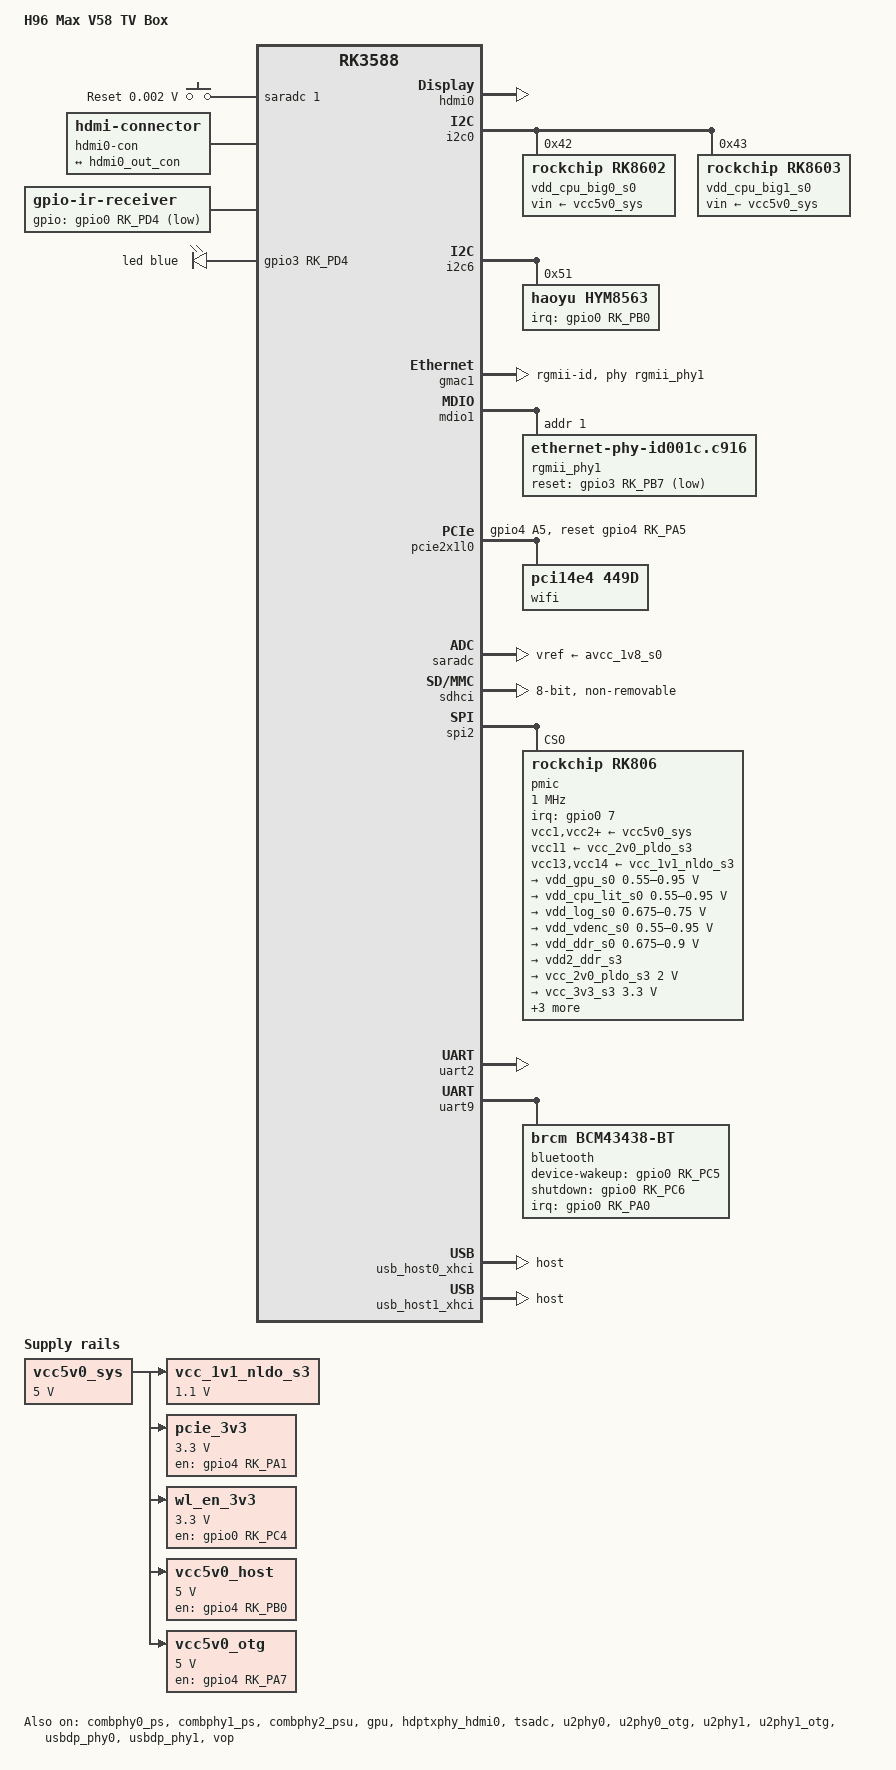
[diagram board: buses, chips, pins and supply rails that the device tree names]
// SPDX-License-Identifier: (GPL-2.0+ OR MIT)

/dts-v1/;

#include <dt-bindings/gpio/gpio.h>
#include <dt-bindings/input/input.h>
#include <dt-bindings/leds/common.h>
#include <dt-bindings/soc/rockchip,vop2.h>
#include "rk3588.dtsi"

/ {
	model = "H96 Max V58 TV Box";
	compatible = "haochuangyi,h96-max-v58", "rockchip,rk3588";

	aliases {
		ethernet0 = &gmac1;
		mmc0 = &sdhci;
	};

	adc-keys {
		compatible = "adc-keys";
		io-channels = <&saradc 1>;
		io-channel-names = "buttons";
		keyup-threshold-microvolt = <1800000>;
		poll-interval = <100>;

		button-function {
			label = "Reset";
			linux,code = <KEY_VENDOR>;
			press-threshold-microvolt = <1750>;
		};
	};

	chosen {
		stdout-path = "serial2:1500000n8";
	};

	hdmi0-con {
		compatible = "hdmi-connector";
		type = "a";

		port {
			hdmi0_con_in: endpoint {
				remote-endpoint = <&hdmi0_out_con>;
			};
		};
	};

	ir-receiver {
		compatible = "gpio-ir-receiver";
		gpios = <&gpio0 RK_PD4 GPIO_ACTIVE_LOW>;
		pinctrl-names = "default";
		pinctrl-0 = <&ir_receiver_pin>;
	};

	leds {
		compatible = "gpio-leds";
		pinctrl-names = "default";
		pinctrl-0 = <&led_pins>;

		led {
			color = <LED_COLOR_ID_BLUE>;
			function = LED_FUNCTION_STATUS;
			gpios = <&gpio3 RK_PD4 GPIO_ACTIVE_HIGH>;
			linux,default-trigger = "heartbeat";
		};
	};

	vcc_1v1_nldo_s3: regulator-1v1 {
		compatible = "regulator-fixed";
		regulator-name = "vcc_1v1_nldo_s3";
		regulator-always-on;
		regulator-boot-on;
		regulator-min-microvolt = <1100000>;
		regulator-max-microvolt = <1100000>;
		vin-supply = <&vcc5v0_sys>;
	};

	pcie_3v3: regulator-3v3-pcie {
		compatible = "regulator-fixed";
		enable-active-high;
		gpios = <&gpio4 RK_PA1 GPIO_ACTIVE_HIGH>;
		pinctrl-0 = <&pcie2_0_pow>;
		pinctrl-names = "default";
		regulator-name = "pcie_3v3";
		regulator-min-microvolt = <3300000>;
		regulator-max-microvolt = <3300000>;
		vin-supply = <&vcc5v0_sys>;
	};

	wl_en_3v3: regulator-3v3-wlen {
		compatible = "regulator-fixed";
		enable-active-high;
		gpios = <&gpio0 RK_PC4 GPIO_ACTIVE_HIGH>;
		pinctrl-0 = <&wl_en>;
		pinctrl-names = "default";
		/*
		 * Needs to be brought up before the PCIe driver is probed,
		 * otherwise detecting the WLAN module requires rescanning
		 * the bus, and even then it fails half of the time during
		 * firmware load
		 */
		regulator-always-on;
		regulator-boot-on;
		regulator-name = "wl_en_3v3";
		regulator-min-microvolt = <3300000>;
		regulator-max-microvolt = <3300000>;
		vin-supply = <&vcc5v0_sys>;
	};

	vcc5v0_host: regulator-5v0-host {
		compatible = "regulator-fixed";
		regulator-name = "vcc5v0_host";
		regulator-min-microvolt = <5000000>;
		regulator-max-microvolt = <5000000>;
		enable-active-high;
		gpios = <&gpio4 RK_PB0 GPIO_ACTIVE_HIGH>;
		pinctrl-0 = <&vcc5v0_host_en>;
		pinctrl-names = "default";
		vin-supply = <&vcc5v0_sys>;
	};

	vcc5v0_otg: regulator-5v0-otg {
		compatible = "regulator-fixed";
		regulator-name = "vcc5v0_otg";
		regulator-min-microvolt = <5000000>;
		regulator-max-microvolt = <5000000>;
		enable-active-high;
		gpios = <&gpio4 RK_PA7 GPIO_ACTIVE_HIGH>;
		pinctrl-0 = <&vcc5v0_otg_en>;
		pinctrl-names = "default";
		vin-supply = <&vcc5v0_sys>;
	};

	vcc5v0_sys: regulator-5v0-sys {
		compatible = "regulator-fixed";
		regulator-name = "vcc5v0_sys";
		regulator-always-on;
		regulator-boot-on;
		regulator-min-microvolt = <5000000>;
		regulator-max-microvolt = <5000000>;
	};
};

&combphy0_ps {
	status = "okay";
};

&combphy1_ps {
	status = "okay";
};

&combphy2_psu {
	status = "okay";
};

&cpu_b0 {
	cpu-supply = <&vdd_cpu_big0_s0>;
};

&cpu_b1 {
	cpu-supply = <&vdd_cpu_big0_s0>;
};

&cpu_b2 {
	cpu-supply = <&vdd_cpu_big1_s0>;
};

&cpu_b3 {
	cpu-supply = <&vdd_cpu_big1_s0>;
};

&cpu_l0 {
	cpu-supply = <&vdd_cpu_lit_s0>;
};

&cpu_l1 {
	cpu-supply = <&vdd_cpu_lit_s0>;
};

&cpu_l2 {
	cpu-supply = <&vdd_cpu_lit_s0>;
};

&cpu_l3 {
	cpu-supply = <&vdd_cpu_lit_s0>;
};

&gpu {
	mali-supply = <&vdd_gpu_s0>;
	status = "okay";
};

&hdmi0 {
	status = "okay";
};

&hdmi0_in {
	hdmi0_in_vp0: endpoint {
		remote-endpoint = <&vp0_out_hdmi0>;
	};
};

&hdmi0_out {
	hdmi0_out_con: endpoint {
		remote-endpoint = <&hdmi0_con_in>;
	};
};

&hdptxphy_hdmi0 {
	status = "okay";
};

&i2c0 {
	pinctrl-names = "default";
	pinctrl-0 = <&i2c0m2_xfer>;
	status = "okay";

	vdd_cpu_big0_s0: regulator@42 {
		compatible = "rockchip,rk8602";
		reg = <0x42>;
		fcs,suspend-voltage-selector = <1>;
		regulator-name = "vdd_cpu_big0_s0";
		regulator-always-on;
		regulator-boot-on;
		regulator-min-microvolt = <550000>;
		regulator-max-microvolt = <1050000>;
		regulator-ramp-delay = <2300>;
		vin-supply = <&vcc5v0_sys>;

		regulator-state-mem {
			regulator-off-in-suspend;
		};
	};

	vdd_cpu_big1_s0: regulator@43 {
		compatible = "rockchip,rk8603", "rockchip,rk8602";
		reg = <0x43>;
		fcs,suspend-voltage-selector = <1>;
		regulator-name = "vdd_cpu_big1_s0";
		regulator-always-on;
		regulator-boot-on;
		regulator-min-microvolt = <550000>;
		regulator-max-microvolt = <1050000>;
		regulator-ramp-delay = <2300>;
		vin-supply = <&vcc5v0_sys>;

		regulator-state-mem {
			regulator-off-in-suspend;
		};
	};
};

&i2c6 {
	status = "okay";

	hym8563: rtc@51 {
		compatible = "haoyu,hym8563";
		reg = <0x51>;
		#clock-cells = <0>;
		clock-output-names = "hym8563";
		pinctrl-names = "default";
		pinctrl-0 = <&hym8563_int>;
		interrupt-parent = <&gpio0>;
		interrupts = <RK_PB0 IRQ_TYPE_LEVEL_LOW>;
		wakeup-source;
	};
};

&gmac1 {
	clock_in_out = "output";
	phy-handle = <&rgmii_phy1>;
	phy-mode = "rgmii-id";
	pinctrl-0 = <&gmac1_miim
		     &gmac1_tx_bus2
		     &gmac1_rx_bus2
		     &gmac1_rgmii_clk
		     &gmac1_rgmii_bus>;
	pinctrl-names = "default";
	status = "okay";
};

&mdio1 {
	rgmii_phy1: ethernet-phy@1 {
		/* RTL8211F */
		compatible = "ethernet-phy-id001c.c916";
		reg = <0x1>;
		pinctrl-names = "default";
		pinctrl-0 = <&rtl8211f_rst>;
		reset-assert-us = <20000>;
		reset-deassert-us = <100000>;
		reset-gpios = <&gpio3 RK_PB7 GPIO_ACTIVE_LOW>;
	};
};

&pcie2x1l0 {
	pinctrl-names = "default";
	pinctrl-0 = <&pcie2_0_rst>;
	reset-gpios = <&gpio4 RK_PA5 GPIO_ACTIVE_HIGH>;
	status = "okay";

	pcie@0,0 {
		reg = <0x200000 0 0 0 0>;
		#address-cells = <3>;
		#size-cells = <2>;
		ranges;
		device_type = "pci";
		bus-range = <0x20 0x2f>;

		wifi: wifi@0,0 {
			compatible = "pci14e4,449d";
			reg = <0x210000 0 0 0 0>;
			clocks = <&hym8563>;
			clock-names = "lpo";
		};
	};
};

&pinctrl {
	hym8563 {
		hym8563_int: hym8563-int {
			rockchip,pins = <0 RK_PD3 RK_FUNC_GPIO &pcfg_pull_none>;
		};
	};

	ir-receiver {
		ir_receiver_pin: ir-receiver-pin {
			rockchip,pins = <0 RK_PD4 RK_FUNC_GPIO &pcfg_pull_none>;
		};
	};

	leds {
		led_pins: led-pins {
			rockchip,pins = <3 RK_PD4 RK_FUNC_GPIO &pcfg_pull_none>;
		};
	};

	pcie2 {
		pcie2_0_rst: pcie2-0-rst {
			rockchip,pins = <4 RK_PA5 RK_FUNC_GPIO &pcfg_pull_none>;
		};

		pcie2_0_pow: pcie2-0-pow {
			rockchip,pins = <4 RK_PA1 RK_FUNC_GPIO &pcfg_pull_none>;
		};
	};

	rtl8211f {
		rtl8211f_rst: rtl8211f-rst {
			rockchip,pins = <3 RK_PB7 RK_FUNC_GPIO &pcfg_pull_none>;
		};

	};

	usb {
		vcc5v0_host_en: vcc5v0-host-en {
			rockchip,pins = <4 RK_PB0 RK_FUNC_GPIO &pcfg_pull_none>;
		};

		vcc5v0_otg_en: vcc5v0-otg-en {
			rockchip,pins = <4 RK_PA7 RK_FUNC_GPIO &pcfg_pull_none>;
		};
	};

	wifibt {
		wl_en: wl-en {
			rockchip,pins = <0 RK_PC4 RK_FUNC_GPIO &pcfg_pull_up>;
		};

		wl_wake_host: wl-wake-host {
			rockchip,pins = <0 RK_PB2 RK_FUNC_GPIO &pcfg_pull_up>;
		};

		bt_en: bt-en {
			rockchip,pins = <0 RK_PC6 RK_FUNC_GPIO &pcfg_pull_up>;
		};

		bt_wake: bt-wake {
			rockchip,pins = <0 RK_PC5 RK_FUNC_GPIO &pcfg_pull_up>;
		};

		bt_wake_host: bt-wake-host {
			rockchip,pins = <0 RK_PA0 RK_FUNC_GPIO &pcfg_pull_down>;
		};
	};
};

&saradc {
	vref-supply = <&avcc_1v8_s0>;
	status = "okay";
};

&sdhci {
	bus-width = <8>;
	no-sdio;
	no-sd;
	non-removable;
	mmc-hs400-1_8v;
	mmc-hs400-enhanced-strobe;
	status = "okay";
};

&spi2 {
	assigned-clocks = <&cru CLK_SPI2>;
	assigned-clock-rates = <200000000>;
	num-cs = <1>;
	pinctrl-names = "default";
	pinctrl-0 = <&spi2m2_cs0 &spi2m2_pins>;
	status = "okay";

	pmic@0 {
		compatible = "rockchip,rk806";
		reg = <0x0>;
		interrupt-parent = <&gpio0>;
		interrupts = <7 IRQ_TYPE_LEVEL_LOW>;
		pinctrl-names = "default";
		pinctrl-0 = <&pmic_pins>, <&rk806_dvs1_null>,
			    <&rk806_dvs2_null>, <&rk806_dvs3_null>;
		spi-max-frequency = <1000000>;
		system-power-controller;

		vcc1-supply = <&vcc5v0_sys>;
		vcc2-supply = <&vcc5v0_sys>;
		vcc3-supply = <&vcc5v0_sys>;
		vcc4-supply = <&vcc5v0_sys>;
		vcc5-supply = <&vcc5v0_sys>;
		vcc6-supply = <&vcc5v0_sys>;
		vcc7-supply = <&vcc5v0_sys>;
		vcc8-supply = <&vcc5v0_sys>;
		vcc9-supply = <&vcc5v0_sys>;
		vcc10-supply = <&vcc5v0_sys>;
		vcc11-supply = <&vcc_2v0_pldo_s3>;
		vcc12-supply = <&vcc5v0_sys>;
		vcc13-supply = <&vcc_1v1_nldo_s3>;
		vcc14-supply = <&vcc_1v1_nldo_s3>;
		vcca-supply = <&vcc5v0_sys>;

		gpio-controller;
		#gpio-cells = <2>;

		rk806_dvs1_null: dvs1-null-pins {
			pins = "gpio_pwrctrl1";
			function = "pin_fun0";
		};

		rk806_dvs2_null: dvs2-null-pins {
			pins = "gpio_pwrctrl2";
			function = "pin_fun0";
		};

		rk806_dvs3_null: dvs3-null-pins {
			pins = "gpio_pwrctrl3";
			function = "pin_fun0";
		};

		regulators {
			vdd_gpu_s0: vdd_gpu_mem_s0: dcdc-reg1 {
				regulator-name = "vdd_gpu_s0";
				regulator-boot-on;
				regulator-min-microvolt = <550000>;
				regulator-max-microvolt = <950000>;
				regulator-ramp-delay = <12500>;
				regulator-enable-ramp-delay = <400>;

				regulator-state-mem {
					regulator-off-in-suspend;
				};
			};

			vdd_cpu_lit_s0: vdd_cpu_lit_mem_s0: dcdc-reg2 {
				regulator-name = "vdd_cpu_lit_s0";
				regulator-always-on;
				regulator-boot-on;
				regulator-min-microvolt = <550000>;
				regulator-max-microvolt = <950000>;
				regulator-ramp-delay = <12500>;

				regulator-state-mem {
					regulator-off-in-suspend;
				};
			};

			vdd_log_s0: dcdc-reg3 {
				regulator-name = "vdd_log_s0";
				regulator-always-on;
				regulator-boot-on;
				regulator-min-microvolt = <675000>;
				regulator-max-microvolt = <750000>;
				regulator-ramp-delay = <12500>;

				regulator-state-mem {
					regulator-off-in-suspend;
					regulator-suspend-microvolt = <750000>;
				};
			};

			vdd_vdenc_s0: vdd_vdenc_mem_s0: dcdc-reg4 {
				regulator-name = "vdd_vdenc_s0";
				regulator-always-on;
				regulator-boot-on;
				regulator-min-microvolt = <550000>;
				regulator-max-microvolt = <950000>;
				regulator-ramp-delay = <12500>;

				regulator-state-mem {
					regulator-off-in-suspend;
				};
			};

			vdd_ddr_s0: dcdc-reg5 {
				regulator-name = "vdd_ddr_s0";
				regulator-always-on;
				regulator-boot-on;
				regulator-min-microvolt = <675000>;
				regulator-max-microvolt = <900000>;
				regulator-ramp-delay = <12500>;

				regulator-state-mem {
					regulator-off-in-suspend;
					regulator-suspend-microvolt = <850000>;
				};
			};

			vdd2_ddr_s3: dcdc-reg6 {
				regulator-name = "vdd2_ddr_s3";
				regulator-always-on;
				regulator-boot-on;

				regulator-state-mem {
					regulator-on-in-suspend;
				};
			};

			vcc_2v0_pldo_s3: dcdc-reg7 {
				regulator-name = "vdd_2v0_pldo_s3";
				regulator-always-on;
				regulator-boot-on;
				regulator-min-microvolt = <2000000>;
				regulator-max-microvolt = <2000000>;
				regulator-ramp-delay = <12500>;

				regulator-state-mem {
					regulator-on-in-suspend;
					regulator-suspend-microvolt = <2000000>;
				};
			};

			vcc_3v3_s3: dcdc-reg8 {
				regulator-name = "vcc_3v3_s3";
				regulator-always-on;
				regulator-boot-on;
				regulator-min-microvolt = <3300000>;
				regulator-max-microvolt = <3300000>;

				regulator-state-mem {
					regulator-on-in-suspend;
					regulator-suspend-microvolt = <3300000>;
				};
			};

			vddq_ddr_s0: dcdc-reg9 {
				regulator-name = "vddq_ddr_s0";
				regulator-always-on;
				regulator-boot-on;

				regulator-state-mem {
					regulator-off-in-suspend;
				};
			};

			vcc_1v8_s3: dcdc-reg10 {
				regulator-name = "vcc_1v8_s3";
				regulator-always-on;
				regulator-boot-on;
				regulator-min-microvolt = <1800000>;
				regulator-max-microvolt = <1800000>;

				regulator-state-mem {
					regulator-on-in-suspend;
					regulator-suspend-microvolt = <1800000>;
				};
			};

			avcc_1v8_s0: pldo-reg1 {
				regulator-name = "avcc_1v8_s0";
				regulator-always-on;
				regulator-boot-on;
				regulator-min-microvolt = <1800000>;
				regulator-max-microvolt = <1800000>;

				regulator-state-mem {
					regulator-off-in-suspend;
				};
			};

			vcc_1v8_s0: pldo-reg2 {
				regulator-name = "vcc_1v8_s0";
				regulator-always-on;
				regulator-boot-on;
				regulator-min-microvolt = <1800000>;
				regulator-max-microvolt = <1800000>;

				regulator-state-mem {
					regulator-off-in-suspend;
					regulator-suspend-microvolt = <1800000>;
				};
			};

			avdd_1v2_s0: pldo-reg3 {
				regulator-name = "avdd_1v2_s0";
				regulator-always-on;
				regulator-boot-on;
				regulator-min-microvolt = <1200000>;
				regulator-max-microvolt = <1200000>;

				regulator-state-mem {
					regulator-off-in-suspend;
				};
			};

			vcc_3v3_s0: pldo-reg4 {
				regulator-name = "vcc_3v3_s0";
				regulator-always-on;
				regulator-boot-on;
				regulator-min-microvolt = <3300000>;
				regulator-max-microvolt = <3300000>;
				regulator-ramp-delay = <12500>;

				regulator-state-mem {
					regulator-off-in-suspend;
				};
			};

			vccio_sd_s0: pldo-reg5 {
				regulator-name = "vccio_sd_s0";
				regulator-always-on;
				regulator-boot-on;
				regulator-min-microvolt = <1800000>;
				regulator-max-microvolt = <3300000>;
				regulator-ramp-delay = <12500>;

				regulator-state-mem {
					regulator-off-in-suspend;
				};
			};

			pldo6_s3: pldo-reg6 {
				regulator-name = "pldo6_s3";
				regulator-always-on;
				regulator-boot-on;
				regulator-min-microvolt = <1800000>;
				regulator-max-microvolt = <1800000>;

				regulator-state-mem {
					regulator-on-in-suspend;
					regulator-suspend-microvolt = <1800000>;
				};
			};

			vdd_0v75_s3: nldo-reg1 {
				regulator-name = "vdd_0v75_s3";
				regulator-always-on;
				regulator-boot-on;
				regulator-min-microvolt = <750000>;
				regulator-max-microvolt = <750000>;

				regulator-state-mem {
					regulator-on-in-suspend;
					regulator-suspend-microvolt = <750000>;
				};
			};

			vdd_ddr_pll_s0: nldo-reg2 {
				regulator-name = "vdd_ddr_pll_s0";
				regulator-always-on;
				regulator-boot-on;
				regulator-min-microvolt = <850000>;
				regulator-max-microvolt = <850000>;

				regulator-state-mem {
					regulator-off-in-suspend;
					regulator-suspend-microvolt = <850000>;
				};
			};

			avdd_0v75_s0: nldo-reg3 {
				regulator-name = "avdd_0v75_s0";
				regulator-always-on;
				regulator-boot-on;
				regulator-min-microvolt = <750000>;
				regulator-max-microvolt = <750000>;

				regulator-state-mem {
					regulator-off-in-suspend;
				};
			};

			vdd_0v85_s0: nldo-reg4 {
				regulator-name = "vdd_0v85_s0";
				regulator-always-on;
				regulator-boot-on;
				regulator-min-microvolt = <850000>;
				regulator-max-microvolt = <850000>;

				regulator-state-mem {
					regulator-off-in-suspend;
				};
			};

			vdd_0v75_s0: nldo-reg5 {
				regulator-name = "vdd_0v75_s0";
				regulator-always-on;
				regulator-boot-on;
				regulator-min-microvolt = <750000>;
				regulator-max-microvolt = <750000>;

				regulator-state-mem {
					regulator-off-in-suspend;
				};
			};
		};
	};
};

&tsadc {
	status = "okay";
};

&u2phy0 {
	status = "okay";
};

&u2phy0_otg {
	phy-supply = <&vcc5v0_otg>;
	status = "okay";
};

&u2phy1 {
	status = "okay";
};

&u2phy1_otg {
	phy-supply = <&vcc5v0_host>;
	status = "okay";
};

&uart2 {
	pinctrl-0 = <&uart2m0_xfer>;
	status = "okay";
};

&uart9 {
	pinctrl-0 = <&uart9m0_xfer &uart9m0_ctsn &uart9m0_rtsn>;
	pinctrl-names = "default";
	uart-has-rtscts;
	status = "okay";

	bluetooth {
		compatible = "brcm,bcm43438-bt";
		clocks = <&hym8563>;
		clock-names = "lpo";
		device-wakeup-gpios = <&gpio0 RK_PC5 GPIO_ACTIVE_HIGH>;
		interrupt-parent = <&gpio0>;
		interrupts = <RK_PA0 IRQ_TYPE_EDGE_FALLING>;
		pinctrl-0 = <&bt_en>, <&bt_wake_host>, <&bt_wake>;
		pinctrl-names = "default";
		shutdown-gpios = <&gpio0 RK_PC6 GPIO_ACTIVE_HIGH>;
	};
};

&usbdp_phy0 {
	status = "okay";
};

&usbdp_phy1 {
	status = "okay";
};

&usb_host0_xhci {
	dr_mode = "host";
	status = "okay";
};

&usb_host1_xhci {
	dr_mode = "host";
	status = "okay";
};

&vop_mmu {
	status = "okay";
};

&vop {
	status = "okay";
};

&vp0 {
	vp0_out_hdmi0: endpoint@ROCKCHIP_VOP2_EP_HDMI0 {
		reg = <ROCKCHIP_VOP2_EP_HDMI0>;
		remote-endpoint = <&hdmi0_in_vp0>;
	};
};
